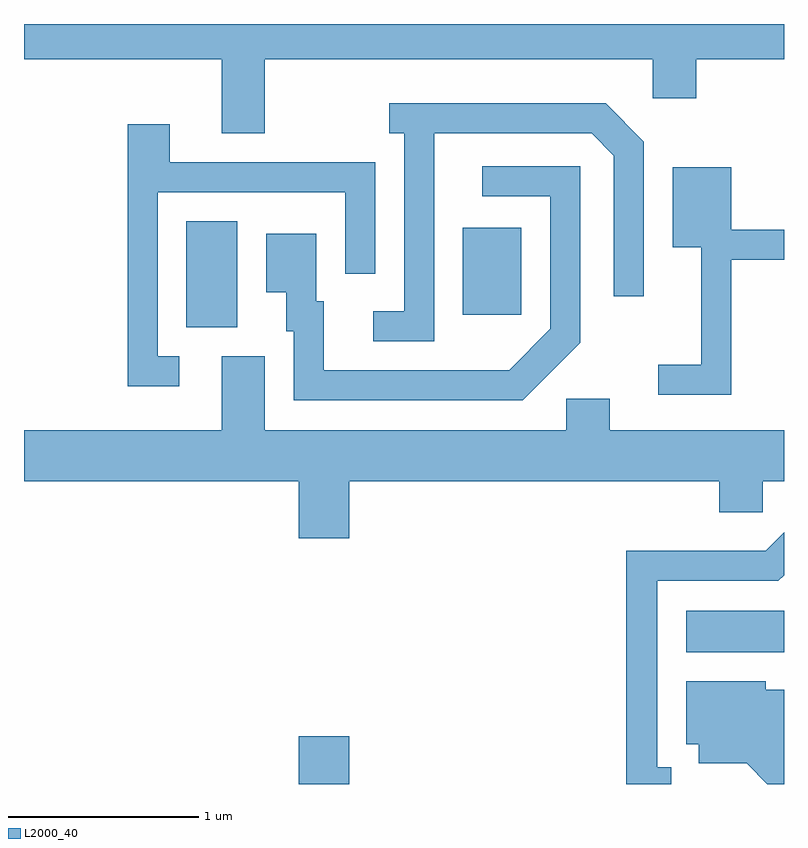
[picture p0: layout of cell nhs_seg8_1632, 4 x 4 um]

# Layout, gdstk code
import gdstk
lib = gdstk.Library(unit=1e-6, precision=1e-09)
def R(c, l, rs):  # rectangles x0, y0, x1, y1
    for r in rs: c.add(gdstk.rectangle(r[:2], r[2:], *l))
def P(c, l, *ps):  # polygons
    for p in ps: c.add(gdstk.Polygon(p, *l))
L2000_40 = (2000, 40)

nhs_seg8_1632 = lib.new_cell('nhs_seg8_1632')
R(nhs_seg8_1632, L2000_40, [(235.056,1870.342,235.324,1870.594), (237.096,1871.036,237.611,1871.254), (234.466,1872.746,234.734,1873.304), (235.921,1872.811,236.229,1873.269)])
P(nhs_seg8_1632, L2000_40, [(234.879,1874.156),(236.921,1874.156),(236.921,1873.951),(237.149,1873.951),(237.149,1874.156),(237.611,1874.156),(237.611,1874.342),(233.611,1874.342),(233.611,1874.156),(234.651,1874.156),(234.651,1873.766),(234.879,1873.766)],
  [(235.769,1873.766),(236.599,1873.766),(236.716,1873.649),(236.716,1872.908),(236.874,1872.908),(236.874,1873.722),(236.672,1873.924),(235.533,1873.924),(235.533,1873.766),(235.611,1873.766),(235.611,1872.829),(235.448,1872.829),(235.448,1872.671),(235.769,1872.671)],
  [(234.428,1872.594),(234.314,1872.594),(234.314,1873.456),(235.301,1873.456),(235.301,1873.028),(235.459,1873.028),(235.459,1873.614),(234.379,1873.614),(234.379,1873.814),(234.156,1873.814),(234.156,1872.436),(234.428,1872.436)],
  [(236.539,1872.664),(236.539,1873.594),(236.023,1873.594),(236.023,1873.436),(236.381,1873.436),(236.381,1872.737),(236.164,1872.519),(235.189,1872.519),(235.189,1872.884),(235.149,1872.884),(235.149,1873.239),(234.886,1873.239),(234.886,1872.931),(234.991,1872.931),(234.991,1872.726),(235.031,1872.726),(235.031,1872.361),(236.237,1872.361)],
  [(237.334,1873.101),(237.611,1873.101),(237.611,1873.259),(237.334,1873.259),(237.334,1873.589),(237.026,1873.589),(237.026,1873.166),(237.176,1873.166),(237.176,1872.549),(236.948,1872.549),(236.948,1872.391),(237.334,1872.391)],
  [(235.324,1871.936),(237.271,1871.936),(237.271,1871.771),(237.499,1871.771),(237.499,1871.936),(237.611,1871.936),(237.611,1872.204),(236.694,1872.204),(236.694,1872.369),(236.466,1872.369),(236.466,1872.204),(234.879,1872.204),(234.879,1872.594),(234.651,1872.594),(234.651,1872.204),(233.611,1872.204),(233.611,1871.936),(235.056,1871.936),(235.056,1871.636),(235.324,1871.636)],
  [(237.018,1870.429),(236.944,1870.429),(236.944,1871.411),(237.582,1871.411),(237.611,1871.44),(237.611,1871.666),(237.514,1871.569),(236.781,1871.569),(236.781,1870.342),(237.018,1870.342)],
  [(237.611,1870.839),(237.514,1870.839),(237.514,1870.884),(237.096,1870.884),(237.096,1870.551),(237.161,1870.551),(237.161,1870.451),(237.414,1870.451),(237.523,1870.342),(237.611,1870.342)])

lib.write_gds('nhs_seg8_1632.gds')
